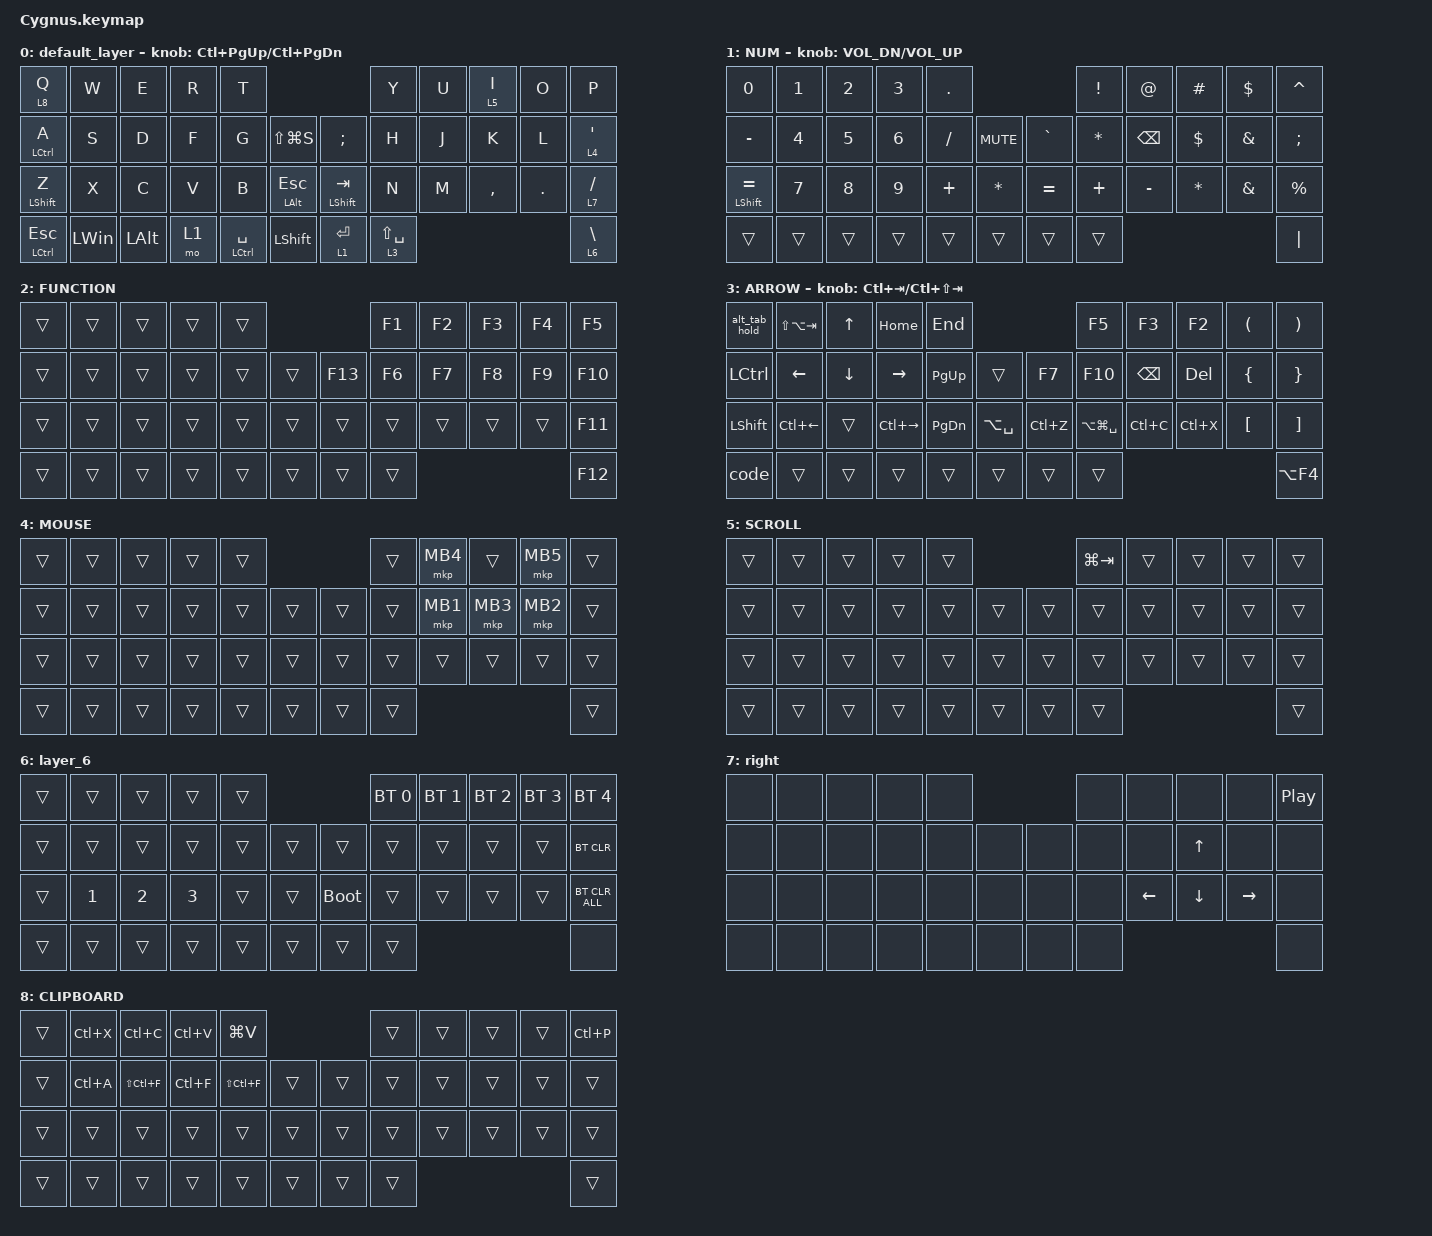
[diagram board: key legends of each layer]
#include <behaviors.dtsi>
#include <dt-bindings/zmk/bt.h>
#include <dt-bindings/zmk/keys.h>
#include <dt-bindings/zmk/pointing.h>

#define ZMK_MOUSE_DEFAULT_SCRL_VAL 25
#define MOUSE 4
#define SCROLL 5
#define NUM 6

&mt {
    flavor = "balanced";
    quick-tap-ms = <0>;
};

&lt {
    flavor = "hold-preferred";
    quick-tap-ms = <0>;
};

/ {
    combos {
        compatible = "zmk,combos";

        tab {
            bindings = <&kp TAB>;
            key-positions = <0 1>;
        };

        shift_tab {
            bindings = <&kp LS(TAB)>;
            key-positions = <10 11>;
        };

        henkan {
            bindings = <&kp F14>;
            key-positions = <13 12>;
            layers = <0>;
        };

        muhenkan {
            bindings = <&kp F13>;
            key-positions = <11 12>;
            layers = <0>;
        };

        ime_toggle {
            bindings = <&kp LC(SPACE)>;
            key-positions = <14 13>;
            layers = <0>;
        };

        haihun_old {
            bindings = <&kp MINUS>;
            key-positions = <7 8>;
        };

        under_bar {
            bindings = <&kp UNDER>;
            key-positions = <31 32>;
        };

        equal {
            bindings = <&kp EQUAL>;
            key-positions = <19 20>;
        };

        question {
            bindings = <&kp QUESTION>;
            key-positions = <33 32>;
        };

        delete {
            bindings = <&kp DELETE>;
            key-positions = <42 33>;
        };

        next_page {
            bindings = <&kp LC(PAGE_DOWN)>;
            key-positions = <24 25>;
        };

        next_up {
            bindings = <&kp LC(PAGE_UP)>;
            key-positions = <24 23>;
        };

        format {
            bindings = <&kp LA(LS(F))>;
            key-positions = <4 3>;
        };

        F10tap {
            bindings = <&kp F10>;
            key-positions = <13 11>;
        };

        semicolon {
            bindings = <&kp SEMICOLON>;
            key-positions = <20 21>;
        };

        colon {
            bindings = <&kp COLON>;
            key-positions = <20 19>;
        };
    };

    macros {
        to_layer_0: to_layer_0 {
            compatible = "zmk,behavior-macro-one-param";
            #binding-cells = <1>;
            bindings = <&to 0 &macro_param_1to1 &kp MACRO_PLACEHOLDER>;
            label = "TO_LAYER_0";
        };

        alt_tab_hold: alt_tab_hold {
            compatible = "zmk,behavior-macro";
            #binding-cells = <0>;
            bindings = <&kp TAB>;
            label = "ALT_TAB_HOLD";
        };

        code: code {
            compatible = "zmk,behavior-macro";
            #binding-cells = <0>;
            bindings = <&kp GRAVE &kp GRAVE &kp GRAVE &kp LS(RET) &kp LS(RET) &kp LS(RET) &kp GRAVE &kp GRAVE &kp GRAVE>;
            label = "CODE";
        };
    };

    behaviors {
        lt_to_layer_0: lt_to_layer_0 {
            compatible = "zmk,behavior-hold-tap";
            label = "LAYER_TAP_TO_0";
            bindings = <&mo>, <&to_layer_0>;

            #binding-cells = <2>;
            tapping-term-ms = <200>;
        };

        mlt: mlt {
            compatible = "zmk,behavior-hold-tap";
            label = "MOUSE_LAYER_TAP";
            bindings = <&mo>, <&kp>;

            #binding-cells = <2>;
            flavor = "hold-preferred";
            tapping-term-ms = <200>;
            quick-tap-ms = <0>;
        };

        clt: clt {
            compatible = "zmk,behavior-hold-tap";
            label = "CLIPBOARD_LAYER_TAP";
            bindings = <&mo>, <&kp>;

            #binding-cells = <2>;
            flavor = "balanced";
            tapping-term-ms = <150>;
            quick-tap-ms = <0>;
        };

        slt: slt {
            compatible = "zmk,behavior-hold-tap";
            label = "SCROLL_LAYER_TAP";
            bindings = <&mo>, <&kp>;

            #binding-cells = <2>;
            flavor = "hold-preferred";
            tapping-term-ms = <280>;
            quick-tap-ms = <0>;
            require-prior-idle-ms = <150>;
        };

        rotate: rotate {
            compatible = "zmk,behavior-sensor-rotate";
            label = "ROTATE";
            #sensor-binding-cells = <0>;
            bindings = <&msc SCRL_UP>, <&msc SCRL_DOWN>;

            tap-ms = <20>;
        };
    };

    keymap {
        compatible = "zmk,keymap";

        default_layer {
            bindings = <
&clt 8 Q          &kp W     &kp E         &kp R  &kp T                                                            &kp Y            &kp U  &slt 5 I   &kp O    &kp P
&mt LCTRL A       &kp S     &kp D         &kp F  &kp G                   &kp LS(LG(S))            &kp SEMICOLON   &kp H            &kp J  &kp K      &kp L    &mlt 4 SQT
&mt LEFT_SHIFT Z  &kp X     &kp C         &kp V  &kp B                   &mt LEFT_ALT ESCAPE      &mt LSHIFT TAB  &kp N            &kp M  &kp COMMA  &kp DOT  &lt 7 SLASH
&mt LCTRL ESCAPE  &kp LWIN  &kp LEFT_ALT  &mo 1  &mt LEFT_CONTROL SPACE  &kp LEFT_SHIFT           &lt 1 ENTER     &lt 3 LS(SPACE)                             &lt 6 BACKSLASH
            >;

            sensor-bindings = <&inc_dec_kp LC(PAGE_UP) LC(PAGE_DOWN)>;
        };

        NUM {
            bindings = <
&kp N0                &kp N1  &kp N2  &kp N3  &kp PERIOD                               &kp EXCLAMATION  &kp AT_SIGN    &kp HASH      &kp DOLLAR     &kp CARET
&kp MINUS             &kp N4  &kp N5  &kp N6  &kp SLASH   &kp K_MUTE        &kp GRAVE  &kp ASTERISK     &kp BACKSPACE  &kp DOLLAR    &kp AMPERSAND  &kp SEMICOLON
&mt LEFT_SHIFT EQUAL  &kp N7  &kp N8  &kp N9  &kp PLUS    &kp ASTERISK      &kp EQUAL  &kp PLUS         &kp MINUS      &kp ASTERISK  &kp AMPERSAND  &kp PERCENT
&trans                &trans  &trans  &trans  &trans      &trans            &trans     &trans                                                       &kp PIPE
            >;

            sensor-bindings = <&inc_dec_kp C_VOL_DN C_VOLUME_UP>;
        };

        FUNCTION {
            bindings = <
&trans  &trans  &trans  &trans  &trans                       &kp F1  &kp F2  &kp F3  &kp F4  &kp F5
&trans  &trans  &trans  &trans  &trans  &trans      &kp F13  &kp F6  &kp F7  &kp F8  &kp F9  &kp F10
&trans  &trans  &trans  &trans  &trans  &trans      &trans   &trans  &trans  &trans  &trans  &kp F11
&trans  &trans  &trans  &trans  &trans  &trans      &trans   &trans                          &kp F12
            >;
        };

        ARROW {
            bindings = <
&alt_tab_hold   &kp LS(LA(TAB))     &kp UP_ARROW    &kp HOME             &kp END                                    &kp F5             &kp F3         &kp F2      &kp LPAR          &kp RPAR
&kp LCTRL       &kp LEFT_ARROW      &kp DOWN_ARROW  &kp RIGHT_ARROW      &kp PAGE_UP  &trans             &kp F7     &kp F10            &kp BACKSPACE  &kp DELETE  &kp LEFT_BRACE    &kp RIGHT_BRACE
&kp LEFT_SHIFT  &kp LC(LEFT_ARROW)  &trans          &kp LC(RIGHT_ARROW)  &kp PG_DN    &kp LA(SPACE)      &kp LC(Z)  &kp LA(LG(SPACE))  &kp LC(C)      &kp LC(X)   &kp LEFT_BRACKET  &kp RIGHT_BRACKET
&code           &trans              &trans          &trans               &trans       &trans             &trans     &trans                                                          &kp LA(F4)
            >;

            sensor-bindings = <&inc_dec_kp LC(TAB) LC(LS(TAB))>;
        };

        MOUSE {
            bindings = <
&trans  &trans  &trans  &trans  &trans                      &trans  &mkp MB4  &trans    &mkp MB5  &trans
&trans  &trans  &trans  &trans  &trans  &trans      &trans  &trans  &mkp MB1  &mkp MB3  &mkp MB2  &trans
&trans  &trans  &trans  &trans  &trans  &trans      &trans  &trans  &trans    &trans    &trans    &trans
&trans  &trans  &trans  &trans  &trans  &trans      &trans  &trans                                &trans
            >;
        };

        SCROLL {
            bindings = <
&trans  &trans  &trans  &trans  &trans                      &kp LG(TAB)  &trans  &trans  &trans  &trans
&trans  &trans  &trans  &trans  &trans  &trans      &trans  &trans       &trans  &trans  &trans  &trans
&trans  &trans  &trans  &trans  &trans  &trans      &trans  &trans       &trans  &trans  &trans  &trans
&trans  &trans  &trans  &trans  &trans  &trans      &trans  &trans                               &trans
            >;
        };

        layer_6 {
            bindings = <
&trans  &trans        &trans        &trans        &trans                           &bt BT_SEL 0  &bt BT_SEL 1  &bt BT_SEL 2  &bt BT_SEL 3  &bt BT_SEL 4
&trans  &trans        &trans        &trans        &trans  &trans      &trans       &trans        &trans        &trans        &trans        &bt BT_CLR
&trans  &kp NUMBER_1  &kp NUMBER_2  &kp NUMBER_3  &trans  &trans      &bootloader  &trans        &trans        &trans        &trans        &bt BT_CLR_ALL
&trans  &trans        &trans        &trans        &trans  &trans      &trans       &trans                                                  &none
            >;
        };

        right {
            bindings = <
&none  &none  &none  &none  &none                    &none  &none           &none           &none            &kp C_PLAY_PAUSE
&none  &none  &none  &none  &none  &none      &none  &none  &none           &kp UP_ARROW    &none            &none
&none  &none  &none  &none  &none  &none      &none  &none  &kp LEFT_ARROW  &kp DOWN_ARROW  &kp RIGHT_ARROW  &none
&none  &none  &none  &none  &none  &none      &none  &none                                                   &none
            >;
        };

        CLIPBOARD {
            bindings = <
&trans  &kp LC(X)  &kp LC(C)      &kp LC(V)  &kp LG(V)                          &trans  &trans  &trans  &trans  &kp LC(P)
&trans  &kp LC(A)  &kp LS(LC(F))  &kp LC(F)  &kp LS(LC(F))  &trans      &trans  &trans  &trans  &trans  &trans  &trans
&trans  &trans     &trans         &trans     &trans         &trans      &trans  &trans  &trans  &trans  &trans  &trans
&trans  &trans     &trans         &trans     &trans         &trans      &trans  &trans                          &trans
            >;
        };
    };
};
